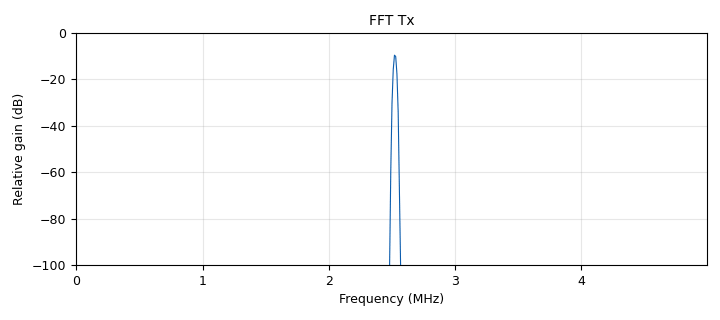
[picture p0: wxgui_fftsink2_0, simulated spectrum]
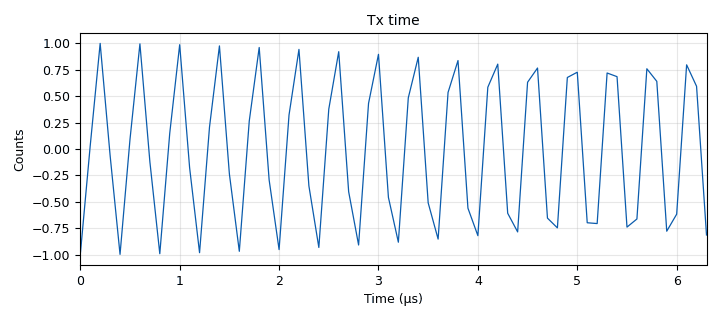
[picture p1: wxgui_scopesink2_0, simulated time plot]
<?xml version='1.0' encoding='utf-8'?>
<?grc format='1' created='3.7.11'?>
<flow_graph>
<block>
<key>options</key>
<param><key>id</key><value>top_block</value></param>
<param><key>generate_options</key><value>wx_gui</value></param>
</block>
<block>
<key>variable</key>
<param><key>id</key><value>samp_rate</value></param>
<param><key>value</key><value>10000000</value></param>
</block>
<block>
<key>analog_sig_source_x</key>
<param><key>id</key><value>analog_sig_source_x_0</value></param>
<param><key>amp</key><value>1</value></param>
<param><key>freq</key><value>0.25</value></param>
<param><key>offset</key><value>0</value></param>
<param><key>type</key><value>float</value></param>
<param><key>samp_rate</key><value>samp_rate</value></param>
<param><key>waveform</key><value>analog.GR_SAW_WAVE</value></param>
</block>
<block>
<key>blocks_delay</key>
<param><key>id</key><value>blocks_delay_0</value></param>
<param><key>delay</key><value>5000000</value></param>
<param><key>type</key><value>float</value></param>
</block>
<block>
<key>blocks_multiply_xx</key>
<param><key>id</key><value>blocks_multiply_xx_0</value></param>
<param><key>type</key><value>float</value></param>
</block>
<block>
<key>blocks_throttle</key>
<param><key>id</key><value>blocks_throttle_0</value></param>
<param><key>samples_per_second</key><value>samp_rate</value></param>
<param><key>type</key><value>float</value></param>
</block>
<block>
<key>blocks_vco_f</key>
<param><key>id</key><value>blocks_vco_f_0</value></param>
<param><key>amplitude</key><value>1</value></param>
<param><key>samp_rate</key><value>samp_rate</value></param>
<param><key>sensitivity</key><value>5000000*2*3.14</value></param>
</block>
<block>
<key>notebook</key>
<param><key>id</key><value>notebook_0</value></param>
<param><key>labels</key><value>['Tx time', 'FFT Tx', 'Rx time','FFT Rx']</value></param>
<param><key>style</key><value>wx.NB_TOP</value></param>
</block>
<block>
<key>wxgui_fftsink2</key>
<param><key>id</key><value>wxgui_fftsink2_0</value></param>
<param><key>avg_alpha</key><value>0</value></param>
<param><key>average</key><value>False</value></param>
<param><key>baseband_freq</key><value>0</value></param>
<param><key>fft_size</key><value>1024</value></param>
<param><key>freqvar</key><value>None</value></param>
<param><key>notebook</key><value>notebook_0,1</value></param>
<param><key>peak_hold</key><value>False</value></param>
<param><key>ref_level</key><value>0</value></param>
<param><key>ref_scale</key><value>2.0</value></param>
<param><key>fft_rate</key><value>15</value></param>
<param><key>samp_rate</key><value>samp_rate</value></param>
<param><key>title</key><value>FFT Tx</value></param>
<param><key>type</key><value>float</value></param>
<param><key>win</key><value>None</value></param>
<param><key>y_divs</key><value>10</value></param>
<param><key>y_per_div</key><value>10</value></param>
</block>
<block>
<key>wxgui_fftsink2</key>
<param><key>id</key><value>wxgui_fftsink2_0_0</value></param>
<param><key>avg_alpha</key><value>0</value></param>
<param><key>average</key><value>False</value></param>
<param><key>baseband_freq</key><value>0</value></param>
<param><key>fft_size</key><value>1024</value></param>
<param><key>freqvar</key><value>None</value></param>
<param><key>notebook</key><value>notebook_0,3</value></param>
<param><key>peak_hold</key><value>False</value></param>
<param><key>ref_level</key><value>0</value></param>
<param><key>ref_scale</key><value>2.0</value></param>
<param><key>fft_rate</key><value>15</value></param>
<param><key>samp_rate</key><value>samp_rate</value></param>
<param><key>title</key><value>FFT Rx</value></param>
<param><key>type</key><value>float</value></param>
<param><key>win</key><value>None</value></param>
<param><key>y_divs</key><value>10</value></param>
<param><key>y_per_div</key><value>10</value></param>
</block>
<block>
<key>wxgui_scopesink2</key>
<param><key>id</key><value>wxgui_scopesink2_0</value></param>
<param><key>ac_couple</key><value>False</value></param>
<param><key>notebook</key><value>notebook_0,0</value></param>
<param><key>num_inputs</key><value>1</value></param>
<param><key>samp_rate</key><value>samp_rate</value></param>
<param><key>t_scale</key><value>0</value></param>
<param><key>title</key><value>Tx time</value></param>
<param><key>trig_mode</key><value>wxgui.TRIG_MODE_AUTO</value></param>
<param><key>type</key><value>float</value></param>
<param><key>v_offset</key><value>0</value></param>
<param><key>v_scale</key><value>0</value></param>
<param><key>xy_mode</key><value>False</value></param>
<param><key>y_axis_label</key><value>Counts</value></param>
</block>
<block>
<key>wxgui_scopesink2</key>
<param><key>id</key><value>wxgui_scopesink2_0_0</value></param>
<param><key>ac_couple</key><value>False</value></param>
<param><key>notebook</key><value>notebook_0,2</value></param>
<param><key>num_inputs</key><value>1</value></param>
<param><key>samp_rate</key><value>samp_rate</value></param>
<param><key>t_scale</key><value>0</value></param>
<param><key>title</key><value>Rx time</value></param>
<param><key>trig_mode</key><value>wxgui.TRIG_MODE_AUTO</value></param>
<param><key>type</key><value>float</value></param>
<param><key>v_offset</key><value>0</value></param>
<param><key>v_scale</key><value>0</value></param>
<param><key>xy_mode</key><value>False</value></param>
<param><key>y_axis_label</key><value>Counts</value></param>
</block>
<connection><source_block_id>analog_sig_source_x_0</source_block_id><sink_block_id>blocks_vco_f_0</sink_block_id><source_key>0</source_key><sink_key>0</sink_key></connection>
<connection><source_block_id>blocks_delay_0</source_block_id><sink_block_id>blocks_multiply_xx_0</sink_block_id><source_key>0</source_key><sink_key>1</sink_key></connection>
<connection><source_block_id>blocks_multiply_xx_0</source_block_id><sink_block_id>wxgui_fftsink2_0_0</sink_block_id><source_key>0</source_key><sink_key>0</sink_key></connection>
<connection><source_block_id>blocks_multiply_xx_0</source_block_id><sink_block_id>wxgui_scopesink2_0_0</sink_block_id><source_key>0</source_key><sink_key>0</sink_key></connection>
<connection><source_block_id>blocks_throttle_0</source_block_id><sink_block_id>blocks_delay_0</sink_block_id><source_key>0</source_key><sink_key>0</sink_key></connection>
<connection><source_block_id>blocks_throttle_0</source_block_id><sink_block_id>blocks_multiply_xx_0</sink_block_id><source_key>0</source_key><sink_key>0</sink_key></connection>
<connection><source_block_id>blocks_throttle_0</source_block_id><sink_block_id>wxgui_fftsink2_0</sink_block_id><source_key>0</source_key><sink_key>0</sink_key></connection>
<connection><source_block_id>blocks_throttle_0</source_block_id><sink_block_id>wxgui_scopesink2_0</sink_block_id><source_key>0</source_key><sink_key>0</sink_key></connection>
<connection><source_block_id>blocks_vco_f_0</source_block_id><sink_block_id>blocks_throttle_0</sink_block_id><source_key>0</source_key><sink_key>0</sink_key></connection>
</flow_graph>
